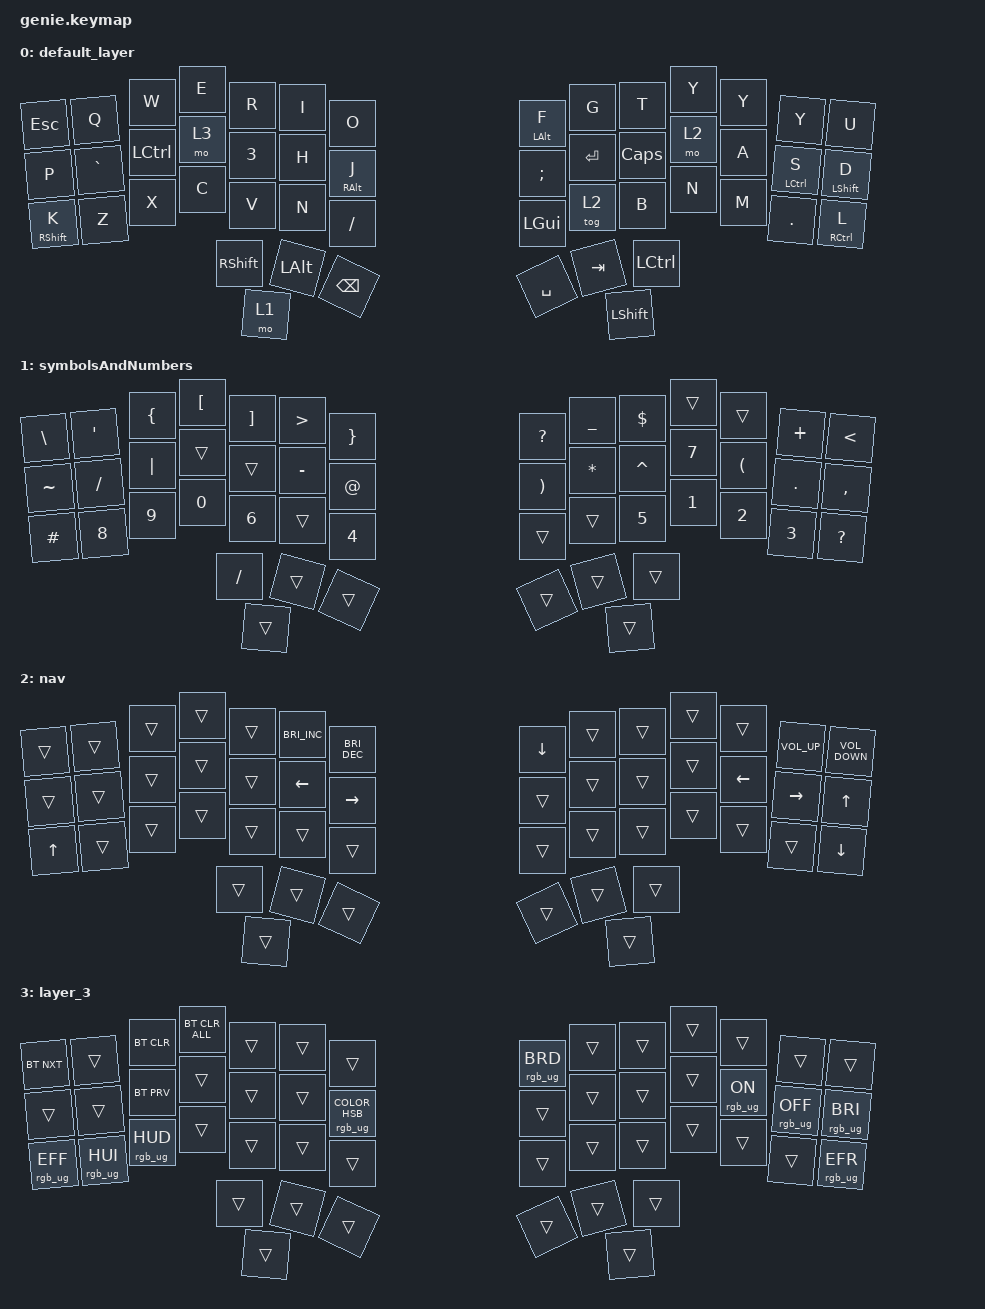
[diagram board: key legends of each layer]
#include <behaviors.dtsi>
#include <dt-bindings/zmk/bt.h>
#include <dt-bindings/zmk/keys.h>
#include <dt-bindings/zmk/rgb.h>

/ {
    combos {
        compatible = "zmk,combos";

        n {
            bindings = <&kp N>;
            key-positions = <23 22>;
        };

        b {
            bindings = <&kp B>;
            key-positions = <18 19>;
        };
    };

    behaviors {
        hrm: hrm {
            compatible = "zmk,behavior-hold-tap";
            label = "HRM";
            bindings = <&kp>, <&kp>;

            #binding-cells = <2>;
            tapping-term-ms = <149>;
            hold-trigger-key-positions = <17 16 15 18 23 24 25 26>;
            flavor = "hold-preferred";
            quick-tap-ms = <180>;
            require-prior-idle-ms = <136>;
        };
    };

    keymap {
        compatible = "zmk,keymap";

        default_layer {
            bindings = <
&kp ESC  &kp Q  &kp W  &kp E  &kp R  &kp T  &kp Y  &kp Y  &kp Y  &kp U  &kp I  &kp O  &kp P  &kp GRAVE  &kp LCTRL  &kp A  &hrm LCTRL S  &hrm LEFT_SHIFT D  &hrm LEFT_ALT F  &kp G  &mo 3  &kp N3  &kp H  &hrm RIGHT_ALT J  &hrm RIGHT_SHIFT K  &hrm RCTRL L  &kp SEMI  &kp ENTER  &kp CAPS  &mo 2  &kp Z  &kp X  &kp C  &kp V  &kp N  &tog 2  &kp B  &kp N  &kp M  &kp DOT  &kp FSLH  &kp RSHFT  &kp LALT  &kp BSPC  &mo 1  &kp LSHFT  &kp SPACE  &kp TAB  &kp LCTRL  &kp LGUI
            >;
        };

        symbolsAndNumbers {
            bindings = <
&kp BSLH  &kp APOS  &kp LEFT_BRACE  &kp LEFT_BRACKET  &kp RIGHT_BRACKET  &kp DOLLAR  &trans  &trans  &kp PLUS  &kp LESS_THAN  &kp GREATER_THAN  &kp RIGHT_BRACE  &kp TILDE  &kp FSLH  &kp PIPE  &kp LEFT_PARENTHESIS  &kp DOT  &kp COMMA  &kp QUESTION  &kp UNDERSCORE  &trans  &trans  &kp MINUS  &kp AT_SIGN  &kp HASH  &kp QUESTION  &kp RIGHT_PARENTHESIS  &kp ASTERISK  &kp CARET  &kp N7  &kp N8  &kp N9  &kp N0  &kp N6  &trans  &trans  &kp N5  &kp N1  &kp N2  &kp N3  &kp N4  &kp FSLH  &trans  &trans  &trans  &trans  &trans  &trans  &trans  &trans
            >;
        };

        nav {
            bindings = <
&trans  &trans  &trans  &trans  &trans  &trans  &trans  &trans  &kp C_VOL_UP  &kp C_VOLUME_DOWN  &kp C_BRIGHTNESS_INC  &kp C_BRIGHTNESS_DEC  &trans  &trans  &trans  &kp LEFT  &kp RIGHT  &kp UP  &kp DOWN  &trans  &trans  &trans  &kp LEFT  &kp RIGHT  &kp UP  &kp DOWN  &trans  &trans  &trans  &trans  &trans  &trans  &trans  &trans  &trans  &trans  &trans  &trans  &trans  &trans  &trans  &trans  &trans  &trans  &trans  &trans  &trans  &trans  &trans  &trans
            >;
        };

        layer_3 {
            bindings = <
&bt BT_NXT  &trans  &bt BT_CLR  &bt BT_CLR_ALL  &trans  &trans  &trans  &trans  &trans  &trans  &trans  &trans  &trans  &trans  &bt BT_PRV  &rgb_ug RGB_ON  &rgb_ug RGB_OFF  &rgb_ug RGB_BRI  &rgb_ug RGB_BRD  &trans  &trans  &trans  &trans  &rgb_ug RGB_COLOR_HSB(283,30,63)  &rgb_ug RGB_EFF  &rgb_ug RGB_EFR  &trans  &trans  &trans  &trans  &rgb_ug RGB_HUI  &rgb_ug RGB_HUD  &trans  &trans  &trans  &trans  &trans  &trans  &trans  &trans  &trans  &trans  &trans  &trans  &trans  &trans  &trans  &trans  &trans  &trans
            >;
        };
    };
};
